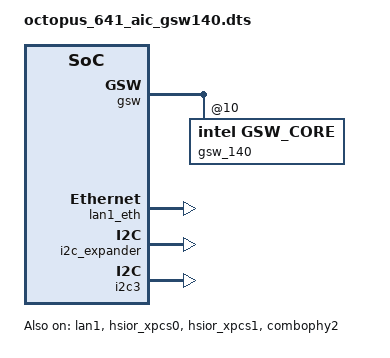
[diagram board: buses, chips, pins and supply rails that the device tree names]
// SPDX-License-Identifier: GPL-2.0
/*
 * Copyright (C) 2020-2022 MaxLinear, Inc.
 * Copyright (C) 2019-2020 Intel Corporation.
 */

/dts-v1/;
#include "octopus_641_base.dtsi"
#include "octopus_641_sfp_eth_wan.dtsi"
#include "octopus_emmc.dtsi"
#include "octopus_641_led.dtsi"
#include "voice.dtsi"

&gsw {
	gsw_140: gsw_core@10 {
		compatible = "intel,gsw_core";
		num_resources = <0>;
		intel,gsw_ext-switch = <1>;
		master-mdio = <&mac0_mdio>;
		intel,gsw_ext-phyid = <0x1f>;
		intel,gsw_ext-baseaddr = <0xe000>;
		intel,gsw_ext-sgmiibaseaddr = <0xD000>;
		intel,gsw-devid = <1>;
		intel,gsw-globalpce-rules = <64>;
		mxl,lpid_config = <&lpid_config>;
	};
};

&gsw_mac8 {
	speed = <2500>;
	xpcs = <&hsior_xpcs1>;
};

&lpid_config {
	mxl,port-mode = <LPID_PORT_MODE0>;
};

&aqsphylan {
	status = "disabled";
};

&lan1 {
	status = "okay";

	#address-cells = <1>;
	#size-cells = <0>;

	compatible = "mxl,pdi";
	mxl,dp-dev-port = <10>;
	mxl,dp-port-id = <10>;
	mxl,xgmac-id = <10>;
	mac = <&gsw_mac8>;
	phy-mode = "2500base-x";

	fixed-link {
		speed = <2500>;
		full-duplex;
		pause;
		asym-pause;
	};

	lan1_eth: ethernet@1 {
		compatible = "mxl,pdi-port";
		reg = <1>;
	};
};

&i2c_expander {
	status = "okay";

	/* 10GPHY:B2/3: x, 0,  MoCA:C0/1: 1,x,  GSW140: B0/1  0,x */
	/* select 10GPHY and GSW140 by default */
	analog_sw_sel1 {
		gpio-hog;
		gpios = <3 GPIO_ACTIVE_HIGH>;
		output-low;
		line-name = "analog_sw_sel1";
	};

	analog_sw_sel2 {
		gpio-hog;
		gpios = <4 GPIO_ACTIVE_HIGH>;
		output-low;
		line-name = "analog_sw_sel2";
	};

	/* 0 - 10GPHY,  1 - MOCA,  2 - GSW140 */
	reset_gsw140 {
		gpio-hog;
		gpios = <2 GPIO_ACTIVE_HIGH>;
		output-high;
		line-name = "gsw140-reset";
	};
};

&hsior_xpcs0 {
	xpcs-mode = <2>; /* <0> - SGMII, <1> - 1000BaseX, <2> - 2500BaseX, <3> - 5GBaseR, <4> - 10GBaseR, <5> - USXGMII, <6> - 10GKR, <7> - QUSXGMII */
	xpcs-cl37 = <0 0 0 0 0 0 0 0>; /* <0> - disable, <1> - SGMII MAC side, <2> - SGMII PHY side, <3> - BaseX */
	status = "okay";
};

&hsior_xpcs1 {
	xpcs-mode = <2>; /* <0> - SGMII, <1> - 1000BaseX, <2> - 2500BaseX, <3> - 5GBaseR, <4> - 10GBaseR, <5> - USXGMII, <6> - 10GKR, <7> - QUSXGMII */
	xpcs-cl37 = <0 0 0 0 0 0 0 0>; /* <0> - disable, <1> - SGMII MAC side, <2> - SGMII PHY side, <3> - BaseX */
	status = "okay";
};

&pcie21 {
	status = "disabled";
};

&pcie20 {
	status = "disabled";
};

&combophy2 { /* PCIe20/21, HSIOR_XPCS0/1, SATA20/21 */
	status = "okay";
};

&i2c3 {
	status = "okay";
};
